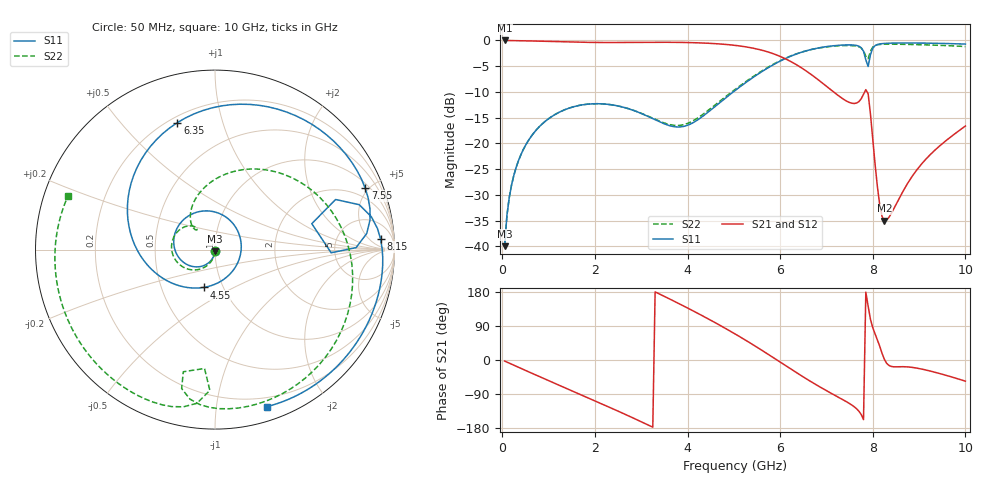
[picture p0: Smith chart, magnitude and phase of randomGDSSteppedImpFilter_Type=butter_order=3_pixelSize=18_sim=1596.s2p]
! freq	dB(S11)	phase(S11)	dB(S12)	phase(S12)
!  dB(S21)	phase(S21)	dB(S22)	phase(S22)
!S-par simulation data
#  GHz  S  DB  R 50
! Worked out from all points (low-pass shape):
!   200 points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, 50 MHz to 10 GHz, reference 50 ohm
!   highest |S21| = -0.01 dB at 50 MHz (marker M1); lowest = -35.0 dB at 8.25 GHz (marker M2)
!   |S21| within 3 dB of the highest: start of sweep to 5.973 GHz
!   lowest |S11| = -40.0 dB at 50 MHz (marker M3), VSWR 1.02, Z = 49.9 - j1 ohm
!   |S11| at or under -10 dB: start of sweep to 4.987 GHz
!   |S22| runs from -39.9 to -0.7 dB; largest |S21 - S12| = 0
!   S11 on the Smith chart (normalised r, x): 50 MHz: 1.00, -0.02; 4.55 GHz: 0.81, -0.36; 6.35 GHz: 0.23, +0.72; 7.55 GHz: 1.26, +4.75; 8.15 GHz: 15, +12; 10 GHz: 0.12, -1.38
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0.05  -39.96 -92.3  -0.01 -2.8  -0.01 -2.8  -39.95 -91.7
0.2  -28.08 -102.1  -0.02 -11.0  -0.02 -11.0  -28.07 -100.0
0.5  -20.40 -120.5  -0.08 -27.4  -0.08 -27.4  -20.39 -115.3
1.15  -14.33 -159.5  -0.24 -62.5  -0.24 -62.5  -14.32 -146.9
1.75  -12.48 164.1  -0.36 -94.5  -0.36 -94.5  -12.48 -174.5
2.7  -13.20 100.1  -0.39 -146.0  -0.39 -146.0  -13.18 146.8
3.4  -15.83 36.4  -0.36 173.8  -0.36 173.8  -15.70 130.9
3.95  -16.62 -34.6  -0.40 140.4  -0.40 140.4  -16.27 134.4
4.55  -13.16 -106.6  -0.60 101.7  -0.60 101.7  -12.85 127.2
5.05  -9.57 -151.4  -0.98 67.1  -0.98 67.1  -9.36 102.1
5.7  -5.52 157.1  -2.14 18.3  -2.14 18.3  -5.40 55.1
6.35  -2.64 106.5  -4.71 -33.1  -4.71 -33.1  -2.60 1.9
6.7  -1.70 80.2  -6.81 -59.7  -6.81 -59.7  -1.72 -25.7
7.55  -0.87 22.3  -12.20 -119.0  -12.20 -119.0  -1.01 -84.9
7.85  -3.78 -1.6  -9.56 179.0  -9.56 179.0  -3.06 -104.6
7.9  -5.06 15.0  -10.36 142.1  -10.36 142.1  -3.55 -95.0
7.95  -2.76 22.6  -14.28 107.4  -14.28 107.4  -2.10 -92.1
8.15  -0.68 3.7  -31.93 36.4  -31.93 36.4  -0.78 -108.9
8.25  -0.58 -2.7  -35.01 1.8  -35.01 1.8  -0.74 -115.1
8.35  -0.53 -8.2  -34.34 -14.3  -34.34 -14.3  -0.72 -120.7
9.2  -0.53 -44.4  -22.55 -27.9  -22.55 -27.9  -0.88 -161.7
10  -0.71 -71.6  -16.62 -55.9  -16.62 -55.9  -1.19 160.1
